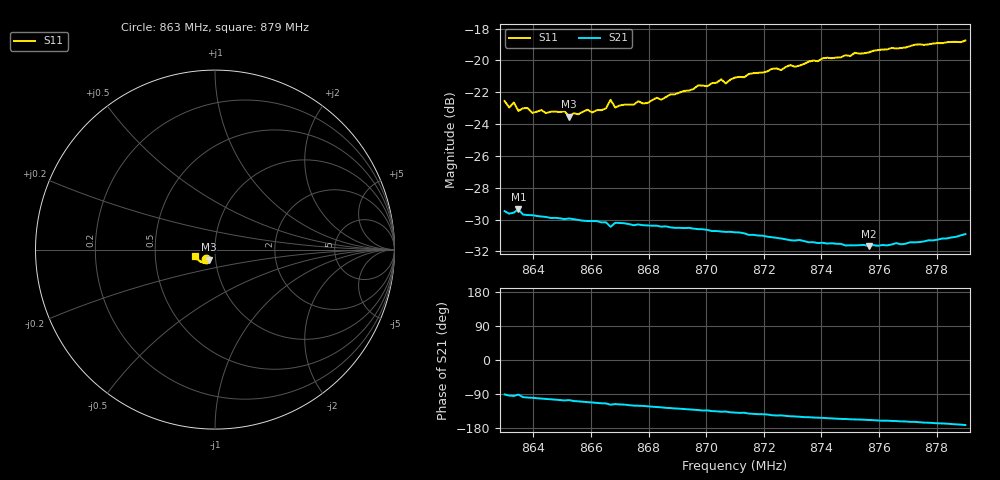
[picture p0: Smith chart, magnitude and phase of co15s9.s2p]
# HZ S RI R 50
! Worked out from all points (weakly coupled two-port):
!   101 points, 863 MHz to 879 MHz, reference 50 ohm
!   highest |S21| = -29.37 dB at 863.48 MHz (marker M1); lowest = -31.7 dB at 875.64 MHz (marker M2)
!   lowest |S11| = -23.5 dB at 865.24 MHz (marker M3), VSWR 1.14, Z = 46.4 - j5.29 ohm
!   |S11| at or under -10 dB: start of sweep to end of sweep
!   S12 and S22 are empty: the file has one direction only
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8.63e8  -0.0511 -0.0542  -0.000525 -0.0336  0 0  0 0
8.6316e8  -0.0429 -0.0567  -0.00226 -0.0329  0 0  0 0
8.6332e8  -0.0482 -0.0558  -0.00282 -0.0331  0 0  0 0
8.6348e8  -0.0395 -0.057  -0.000741 -0.034  0 0  0 0
8.6364e8  -0.0433 -0.0559  -0.00455 -0.0324  0 0  0 0
8.6396e8  -0.0412 -0.0546  -0.00554 -0.0322  0 0  0 0
8.6508e8  -0.0392 -0.057  -0.00915 -0.0304  0 0  0 0
8.6524e8  -0.0347 -0.0568  -0.0087 -0.0307  0 0  0 0
8.6572e8  -0.0375 -0.0579  -0.0108 -0.0294  0 0  0 0
8.6652e8  -0.0367 -0.0604  -0.0129 -0.0282  0 0  0 0
8.6668e8  -0.0416 -0.0626  -0.0141 -0.0265  0 0  0 0
8.6684e8  -0.0371 -0.0606  -0.0137 -0.0277  0 0  0 0
8.6844e8  -0.0382 -0.0649  -0.0172 -0.0246  0 0  0 0
8.6972e8  -0.0452 -0.0701  -0.0197 -0.0219  0 0  0 0
8.7004e8  -0.044 -0.0703  -0.02 -0.0215  0 0  0 0
8.7052e8  -0.0484 -0.0725  -0.0211 -0.0199  0 0  0 0
8.7068e8  -0.0457 -0.0712  -0.0208 -0.0201  0 0  0 0
8.71e8  -0.0516 -0.0717  -0.0217 -0.019  0 0  0 0
8.7372e8  -0.0694 -0.0718  -0.0236 -0.0127  0 0  0 0
8.7564e8  -0.0838 -0.0647  -0.0242 -0.00965  0 0  0 0
8.7644e8  -0.0917 -0.0597  -0.0249 -0.00869  0 0  0 0
8.79e8  -0.1094 -0.0372  -0.0282 -0.00415  0 0  0 0
